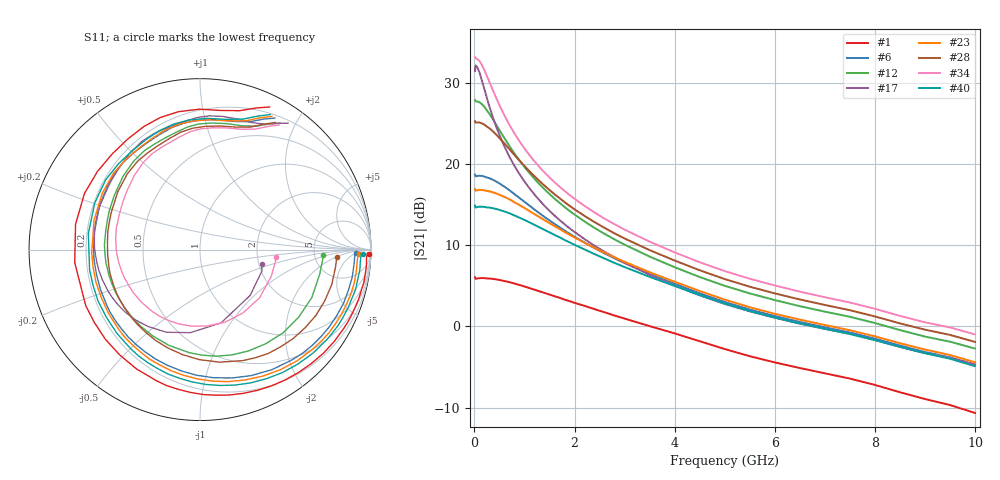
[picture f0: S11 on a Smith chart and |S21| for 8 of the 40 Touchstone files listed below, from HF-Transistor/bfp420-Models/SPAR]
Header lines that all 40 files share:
! Infineon Technologies  Discrete & RF Semiconductors
! BFP420
! Common Emitter S-Parameters:  Nov 2009
# GHz  S  MA  R  50
!  f  S11  S21  S12  S22
! GHz  MAG  ANG  MAG  ANG  MAG  ANG  MAG  ANG
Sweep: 10 MHz to 10 GHz
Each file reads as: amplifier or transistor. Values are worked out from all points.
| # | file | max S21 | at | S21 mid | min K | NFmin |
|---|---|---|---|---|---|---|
| 1 | 2p0V50M5.s2p | 6.1 dB | 10 MHz | 3.5 dB at 1.7 GHz | 0.00 | 0.68 dB |
| 2 | 2p0V51M0.s2p | 11.2 dB | 10 MHz | 7.5 dB at 1.7 GHz | 0.01 | 0.53 dB |
| 3 | 2p0V51M2.s2p | 13.1 dB | 10 MHz | 8.9 dB at 1.7 GHz | 0.01 | 0.53 dB |
| 4 | 2p0V51M5.s2p | 14.8 dB | 10 MHz | 10.0 dB at 1.7 GHz | 0.00 | 0.52 dB |
| 5 | 2p0V52M0.s2p | 16.9 dB | 10 MHz | 11.3 dB at 1.7 GHz | 0.01 | 0.53 dB |
| 6 | 2p0V52M5.s2p | 18.7 dB | 10 MHz | 12.2 dB at 1.7 GHz | 0.02 | 0.55 dB |
| 7 | 2p0V53M0.s2p | 20.1 dB | 10 MHz | 12.9 dB at 1.7 GHz | 0.03 | 0.57 dB |
| 8 | 2p0V54M0.s2p | 22.3 dB | 10 MHz | 13.7 dB at 1.7 GHz | 0.04 | 0.61 dB |
| 9 | 2p0V55M0.s2p | 23.9 dB | 10 MHz | 14.3 dB at 1.7 GHz | 0.05 | 0.66 dB |
| 10 | 2p0V56M0.s2p | 25.2 dB | 10 MHz | 14.6 dB at 1.7 GHz | 0.07 | 0.70 dB |
| 11 | 2p0V58M0.s2p | 27.1 dB | 10 MHz | 15.1 dB at 1.7 GHz | 0.09 | 0.79 dB |
| 12 | 2p0V59M0.s2p | 27.9 dB | 10 MHz | 15.2 dB at 1.7 GHz | 0.10 | - |
| 13 | 2p0V512M.s2p | 29.5 dB | 10 MHz | 15.4 dB at 1.7 GHz | 0.14 | 0.95 dB |
| 14 | 2p0V515M.s2p | 30.6 dB | 10 MHz | 15.4 dB at 1.7 GHz | 0.17 | 1.06 dB |
| 15 | 2p0V520M.s2p | 31.7 dB | 20 MHz | 15.2 dB at 1.7 GHz | 0.23 | 1.23 dB |
| 16 | 2p0V525M.s2p | 32.2 dB | 20 MHz | 14.5 dB at 1.7 GHz | 0.30 | 1.38 dB |
| 17 | 2p0V530M.s2p | 32.1 dB | 20 MHz | 13.1 dB at 1.7 GHz | 0.40 | 1.51 dB |
| 18 | 2p0V535M.s2p | 31.5 dB | 20 MHz | 10.8 dB at 1.7 GHz | 0.51 | 1.64 dB |
| 19 | 2p1V00M5.s2p | 6.1 dB | 10 MHz | 3.9 dB at 1.7 GHz | -0.01 | 0.68 dB |
| 20 | 2p1V01M0.s2p | 11.6 dB | 10 MHz | 8.4 dB at 1.7 GHz | -0.16 | 0.53 dB |
| 21 | 2p1V01M2.s2p | 12.8 dB | 10 MHz | 9.2 dB at 1.7 GHz | 0.01 | 0.53 dB |
| 22 | 2p1V01M5.s2p | 14.9 dB | 10 MHz | 10.7 dB at 1.7 GHz | 0.01 | 0.52 dB |
| 23 | 2p1V02M0.s2p | 16.9 dB | 10 MHz | 12.0 dB at 1.7 GHz | 0.02 | 0.53 dB |
| 24 | 2p1V02M5.s2p | 18.9 dB | 10 MHz | 13.1 dB at 1.7 GHz | 0.02 | 0.55 dB |
| 25 | 2p1V03M0.s2p | 20.1 dB | 10 MHz | 13.7 dB at 1.7 GHz | 0.02 | 0.57 dB |
| 26 | 2p1V04M0.s2p | 22.4 dB | 10 MHz | 14.7 dB at 1.7 GHz | 0.04 | 0.61 dB |
| 27 | 2p1V05M0.s2p | 24.0 dB | 10 MHz | 15.3 dB at 1.7 GHz | 0.05 | 0.66 dB |
| 28 | 2p1V06M0.s2p | 25.3 dB | 10 MHz | 15.8 dB at 1.7 GHz | 0.07 | 0.70 dB |
| 29 | 2p1V08M0.s2p | 27.2 dB | 10 MHz | 16.3 dB at 1.7 GHz | 0.09 | 0.79 dB |
| 30 | 2p1V09M0.s2p | 28.0 dB | 10 MHz | 16.5 dB at 1.7 GHz | 0.09 | - |
| 31 | 2p1V012M.s2p | 29.7 dB | 10 MHz | 16.8 dB at 1.7 GHz | 0.12 | 0.95 dB |
| 32 | 2p1V015M.s2p | 30.9 dB | 10 MHz | 17.0 dB at 1.7 GHz | 0.15 | 1.06 dB |
| 33 | 2p1V020M.s2p | 32.2 dB | 10 MHz | 17.2 dB at 1.7 GHz | 0.19 | 1.23 dB |
| 34 | 2p1V025M.s2p | 33.1 dB | 10 MHz | 17.2 dB at 1.7 GHz | 0.23 | 1.38 dB |
| 35 | 2p1V030M.s2p | 33.7 dB | 10 MHz | 17.1 dB at 1.7 GHz | 0.27 | 1.51 dB |
| 36 | 2p1V035M.s2p | 34.1 dB | 10 MHz | 17.0 dB at 1.7 GHz | 0.30 | 1.64 dB |
| 37 | 2p1V50M5.s2p | 6.1 dB | 10 MHz | 4.1 dB at 1.7 GHz | -0.01 | 0.68 dB |
| 38 | 2p1V51M0.s2p | 11.2 dB | 10 MHz | 8.3 dB at 1.7 GHz | 0.01 | 0.53 dB |
| 39 | 2p1V51M2.s2p | 13.1 dB | 10 MHz | 9.7 dB at 1.7 GHz | -0.01 | 0.53 dB |
| 40 | 2p1V51M5.s2p | 14.9 dB | 10 MHz | 11.0 dB at 1.7 GHz | 0.00 | 0.52 dB |

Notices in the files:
Praktikum_HF-Schaltungstechnik/HF-Transistor/bfp420-Models/SPAR/2p0V50M5.s2p:
(c) 2009  Infineon Technologies AG, Munich
